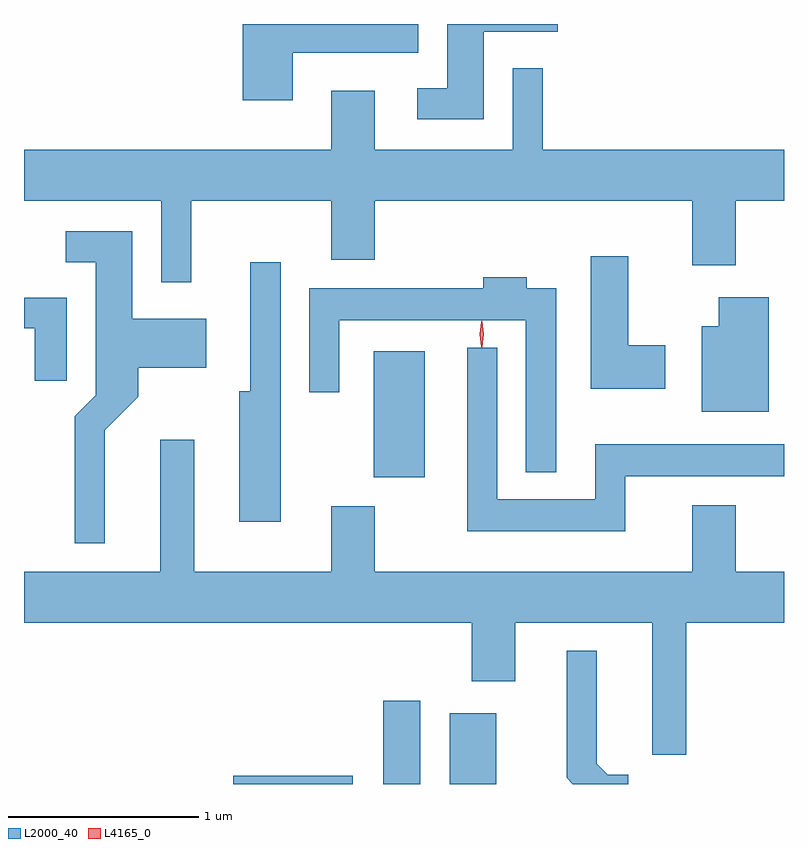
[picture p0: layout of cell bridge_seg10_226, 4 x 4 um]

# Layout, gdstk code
import gdstk
lib = gdstk.Library(unit=1e-6, precision=1e-09)
def R(c, l, rs):  # rectangles x0, y0, x1, y1
    for r in rs: c.add(gdstk.rectangle(r[:2], r[2:], *l))
def P(c, l, *ps):  # polygons
    for p in ps: c.add(gdstk.Polygon(p, *l))
L2000_40 = (2000, 40)
L4165_0 = (4165, 0)

bridge_seg10_226 = lib.new_cell('bridge_seg10_226')
R(bridge_seg10_226, L2000_40, [(1761.126,2095.306,1761.754,2095.349), (1761.916,2095.306,1762.109,2095.744), (1762.266,2095.306,1762.509,2095.679), (1761.866,2096.921,1762.134,2097.584)])
P(bridge_seg10_226, L2000_40, [(1761.439,2099.156),(1762.099,2099.156),(1762.099,2099.306),(1761.176,2099.306),(1761.176,2098.906),(1761.439,2098.906)],
  [(1762.444,2099.266),(1762.834,2099.266),(1762.834,2099.306),(1762.251,2099.306),(1762.251,2098.969),(1762.093,2098.969),(1762.093,2098.806),(1762.444,2098.806)],
  [(1760.904,2098.376),(1761.641,2098.376),(1761.641,2098.066),(1761.869,2098.066),(1761.869,2098.376),(1763.541,2098.376),(1763.541,2098.036),(1763.769,2098.036),(1763.769,2098.376),(1764.024,2098.376),(1764.024,2098.644),(1762.754,2098.644),(1762.754,2099.073),(1762.596,2099.073),(1762.596,2098.644),(1761.869,2098.644),(1761.869,2098.954),(1761.641,2098.954),(1761.641,2098.644),(1760.024,2098.644),(1760.024,2098.376),(1760.746,2098.376),(1760.746,2097.948),(1760.904,2097.948)],
  [(1760.449,2097.169),(1760.624,2097.344),(1760.624,2097.496),(1760.984,2097.496),(1760.984,2097.754),(1760.594,2097.754),(1760.594,2098.214),(1760.243,2098.214),(1760.243,2098.051),(1760.401,2098.051),(1760.401,2097.352),(1760.291,2097.242),(1760.291,2096.573),(1760.449,2096.573)],
  [(1763.399,2097.614),(1763.204,2097.614),(1763.204,2098.084),(1763.006,2098.084),(1763.006,2097.386),(1763.399,2097.386)],
  [(1761.374,2098.053),(1761.216,2098.053),(1761.216,2097.374),(1761.156,2097.374),(1761.156,2096.686),(1761.374,2096.686)],
  [(1762.824,2097.914),(1762.669,2097.914),(1762.669,2097.974),(1762.441,2097.974),(1762.441,2097.914),(1761.526,2097.914),(1761.526,2097.368),(1761.684,2097.368),(1761.684,2097.746),(1762.666,2097.746),(1762.666,2096.948),(1762.824,2096.948)],
  [(1763.944,2097.869),(1763.681,2097.869),(1763.681,2097.714),(1763.591,2097.714),(1763.591,2097.266),(1763.944,2097.266)],
  [(1760.249,2097.864),(1760.024,2097.864),(1760.024,2097.706),(1760.081,2097.706),(1760.081,2097.428),(1760.249,2097.428)],
  [(1763.189,2096.926),(1764.024,2096.926),(1764.024,2097.094),(1763.031,2097.094),(1763.031,2096.804),(1762.514,2096.804),(1762.514,2097.603),(1762.356,2097.603),(1762.356,2096.636),(1763.189,2096.636)],
  [(1763.509,2096.156),(1764.024,2096.156),(1764.024,2096.424),(1763.769,2096.424),(1763.769,2096.774),(1763.541,2096.774),(1763.541,2096.424),(1761.869,2096.424),(1761.869,2096.769),(1761.641,2096.769),(1761.641,2096.424),(1760.919,2096.424),(1760.919,2097.119),(1760.741,2097.119),(1760.741,2096.424),(1760.024,2096.424),(1760.024,2096.156),(1762.381,2096.156),(1762.381,2095.846),(1762.609,2095.846),(1762.609,2096.156),(1763.331,2096.156),(1763.331,2095.461),(1763.509,2095.461)],
  [(1763.204,2095.354),(1763.097,2095.354),(1763.039,2095.412),(1763.039,2096.008),(1762.881,2096.008),(1762.881,2095.338),(1762.913,2095.306),(1763.204,2095.306)])
P(bridge_seg10_226, L4165_0, [(1762.431,2097.607),(1762.422,2097.674),(1762.431,2097.74),(1762.432,2097.74),(1762.432,2097.74),(1762.442,2097.674),(1762.432,2097.607),(1762.432,2097.607)],
  [(1762.434,2097.604),(1762.434,2097.604),(1762.424,2097.673),(1762.434,2097.742),(1762.434,2097.743),(1762.435,2097.742),(1762.444,2097.673),(1762.435,2097.604)])

lib.write_gds('bridge_seg10_226.gds')
